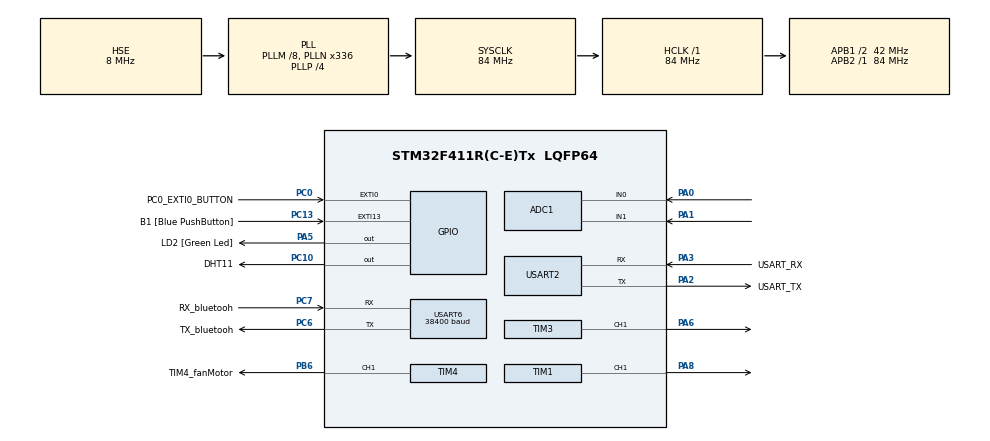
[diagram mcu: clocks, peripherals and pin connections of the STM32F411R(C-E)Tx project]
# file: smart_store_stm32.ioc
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ADC1.Channel-11\#ChannelRegularConversion=ADC_CHANNEL_0
ADC1.Channel-12\#ChannelRegularConversion=ADC_CHANNEL_1
ADC1.DataAlign=ADC_DATAALIGN_RIGHT
ADC1.NbrOfConversion=2
ADC1.NbrOfConversionFlag=1
ADC1.Rank-11\#ChannelRegularConversion=1
ADC1.Rank-12\#ChannelRegularConversion=2
ADC1.SamplingTime-11\#ChannelRegularConversion=ADC_SAMPLETIME_84CYCLES
ADC1.SamplingTime-12\#ChannelRegularConversion=ADC_SAMPLETIME_84CYCLES
ADC1.ScanConvMode=ENABLE
ADC1.master=1
Mcu.Family=STM32F4
Mcu.Name=STM32F411R(C-E)Tx
Mcu.Package=LQFP64
NVIC.ADC_IRQn=true\:0\:0\:false\:false\:true\:true\:true\:true
NVIC.EXTI0_IRQn=true\:0\:0\:false\:false\:true\:true\:true\:true
NVIC.EXTI15_10_IRQn=true\:0\:0\:false\:false\:true\:true\:true\:true
NVIC.PriorityGroup=NVIC_PRIORITYGROUP_0
NVIC.TIM3_IRQn=true\:0\:0\:false\:false\:true\:true\:true\:true
NVIC.TIM4_IRQn=true\:0\:0\:false\:false\:true\:true\:true\:true
NVIC.USART2_IRQn=true\:0\:0\:false\:false\:true\:true\:true\:true
NVIC.USART6_IRQn=true\:0\:0\:false\:false\:true\:true\:true\:true
PA0-WKUP.Signal=ADCx_IN0
PA1.Signal=ADCx_IN1
PA13.GPIO_Label=TMS
PA13.Mode=Serial_Wire
PA13.Signal=SYS_JTMS-SWDIO
PA14.GPIO_Label=TCK
PA14.Mode=Serial_Wire
PA14.Signal=SYS_JTCK-SWCLK
PA2.GPIO_Label=USART_TX
PA2.Mode=Asynchronous
PA2.Signal=USART2_TX
PA3.GPIO_Label=USART_RX
PA3.Mode=Asynchronous
PA3.Signal=USART2_RX
PA5.GPIO_Label=LD2 [Green Led]
PA5.Signal=GPIO_Output
PA6.Signal=S_TIM3_CH1
PA8.Signal=S_TIM1_CH1
PB3.GPIO_Label=SWO
PB3.Signal=SYS_JTDO-SWO
PB6.GPIO_Label=TIM4_fanMotor
PB6.Signal=S_TIM4_CH1
PC0.GPIO_Label=PC0_EXTI0_BUTTON
PC0.Signal=GPXTI0
PC10.GPIO_Label=DHT11
PC10.Signal=GPIO_Output
PC13-ANTI_TAMP.GPIO_Label=B1 [Blue PushButton]
PC13-ANTI_TAMP.GPIO_ModeDefaultEXTI=GPIO_MODE_IT_FALLING
PC13-ANTI_TAMP.Signal=GPXTI13
PC14-OSC32_IN.Mode=LSE-External-Oscillator
PC14-OSC32_IN.Signal=RCC_OSC32_IN
PC15-OSC32_OUT.Mode=LSE-External-Oscillator
PC15-OSC32_OUT.Signal=RCC_OSC32_OUT
PC6.GPIO_Label=TX_bluetooh
PC6.Mode=Asynchronous
PC6.Signal=USART6_TX
PC7.GPIO_Label=RX_bluetooh
PC7.Mode=Asynchronous
PC7.Signal=USART6_RX
PH0\ -\ OSC_IN.Mode=HSE-External-Clock-Source
PH0\ -\ OSC_IN.Signal=RCC_OSC_IN
PH1\ -\ OSC_OUT.Mode=HSE-External-Clock-Source
PH1\ -\ OSC_OUT.Signal=RCC_OSC_OUT
ProjectManager.HeapSize=0x200
ProjectManager.StackSize=0x400
ProjectManager.TargetToolchain=STM32CubeIDE
RCC.48MHZClocksFreq_Value=84000000
RCC.AHBFreq_Value=84000000
RCC.APB1CLKDivider=RCC_HCLK_DIV2
RCC.APB1Freq_Value=42000000
RCC.APB1TimFreq_Value=84000000
RCC.APB2Freq_Value=84000000
RCC.APB2TimFreq_Value=84000000
RCC.CortexFreq_Value=84000000
RCC.FLatency-AdvancedSettings=FLASH_LATENCY_2
RCC.HCLKFreq_Value=84000000
RCC.HSE_VALUE=8000000
RCC.HSI_VALUE=16000000
RCC.PLLM=8
RCC.PLLN=336
RCC.PLLP=RCC_PLLP_DIV4
RCC.PLLSourceVirtual=RCC_PLLSOURCE_HSE
RCC.SYSCLKFreq_VALUE=84000000
RCC.SYSCLKSource=RCC_SYSCLKSOURCE_PLLCLK
RCC.VCOOutputFreq_Value=336000000
SH.ADCx_IN0.0=ADC1_IN0,IN0
SH.ADCx_IN1.0=ADC1_IN1,IN1
SH.S_TIM1_CH1.0=TIM1_CH1,PWM Generation1 CH1
SH.S_TIM3_CH1.0=TIM3_CH1,PWM Generation1 CH1
SH.S_TIM4_CH1.0=TIM4_CH1,PWM Generation1 CH1
TIM1.Channel-PWM\ Generation1\ CH1=TIM_CHANNEL_1
TIM1.Period=999
TIM1.Prescaler=84-1
TIM3.AutoReloadPreload=TIM_AUTORELOAD_PRELOAD_ENABLE
TIM3.Channel-PWM\ Generation1\ CH1=TIM_CHANNEL_1
TIM3.Period=1000-1
TIM3.Prescaler=84-1
TIM4.AutoReloadPreload=TIM_AUTORELOAD_PRELOAD_ENABLE
TIM4.Channel-PWM\ Generation1\ CH1=TIM_CHANNEL_1
TIM4.Period=1000-1
TIM4.Prescaler=84-1
TIM4.Pulse-PWM\ Generation1\ CH1=0
USART2.VirtualMode=VM_ASYNC
USART6.BaudRate=38400
USART6.VirtualMode=VM_ASYNC
VP_TIM1_VS_ClockSourceINT.Mode=Internal
VP_TIM3_VS_ClockSourceINT.Mode=Internal
VP_TIM4_VS_ClockSourceINT.Mode=Internal
board=NUCLEO-F411RE

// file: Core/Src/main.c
/* USER CODE BEGIN Header */
/**
 ******************************************************************************
 * @file           : main.c
 * @brief          : Main program body
 ******************************************************************************
 * @attention
 *
 * Copyright (c) 2024 STMicroelectronics.
 * All rights reserved.
 *
 * This software is licensed under terms that can be found in the LICENSE file
 * in the root directory of this software component.
 * If no LICENSE file comes with this software, it is provided AS-IS.
 *
 ******************************************************************************
 */
/* USER CODE END Header */
#include "main.h"

/* USER CODE BEGIN Includes */
#include "dht.h"  //온습도 센서 헤더
#include "esp.h"  //wifi 모듈 헤더
#include <math.h> //pow() 연산시 필요
#include <stdbool.h>	//bool 타입
#include <stdio.h>	//printf를 위한 디버깅 헤더
#include <stdlib.h>	//메모리 연산
#include <string.h>	//문자열 연산
// #include "clcd.h"
/* USER CODE END Includes */

/* USER CODE BEGIN PD */
#define ARR_CNT 20  // pArray에 사용되는 크기 [@]에 의해 구별되는 명령의 크기
#define CMD_SIZE 50 // 명령의 전체 사이즈

// 디버깅용 printf 사용을 위한 구문
#ifdef __GNUC__
/* With GCC, small printf (option LD Linker->Libraries->Small printf
   set to 'Yes') calls __io_putchar() */
#define PUTCHAR_PROTOTYPE int __io_putchar(int ch)
#else
#define PUTCHAR_PROTOTYPE int fputc(int ch, FILE *f)
#endif /* __GNUC__ */
/* USER CODE END PD */

ADC_HandleTypeDef hadc1;

TIM_HandleTypeDef htim1;
TIM_HandleTypeDef htim3;
TIM_HandleTypeDef htim4;

UART_HandleTypeDef huart2;
UART_HandleTypeDef huart6;

/* USER CODE BEGIN PV */
uint8_t rx2char;
extern cb_data_t cb_data;
extern volatile unsigned char rx2Flag;
extern volatile char rx2Data[50];
volatile int tim3Flag1Sec = 1;
volatile unsigned int tim3Sec;

// 각 장치의 데이터 저장
int humi;              // 습도, 정수로만
char temp[10];         // 온도는, 소수점 앞뒤로 따로 저장되므로 문자열로 한번에 저장
int customerCount = 0; // 현재 매장 내 손님 수 저장(인체감지 센서)
int ledState =20;          // led(조명의 밝기) 저장
int fanSpeed = 0;      // ez모터의 회전수 저장	//0~1000

__IO uint16_t ADC1ConvertValue[2] = {0};
__IO int adcFlag = 0;

typedef struct
{
    float distance;
    uint32_t sensorReadTime;
} Data;

Data outDoorSensor = {0.0, 0};
Data inDoorSensor = {0.0, 0};

int lockFlag = 0;

bool inCustomer = false;
int inCustomerTimer = 0;
/* USER CODE END PV */

void SystemClock_Config(void);
static void MX_GPIO_Init(void);
static void MX_USART2_UART_Init(void);
static void MX_USART6_UART_Init(void);
static void MX_TIM4_Init(void);
static void MX_TIM3_Init(void);
static void MX_TIM1_Init(void);
static void MX_ADC1_Init(void);
/* USER CODE BEGIN PFP */
char strBuff[MAX_ESP_COMMAND_LEN];
void MX_GPIO_LED_ON(int flag);
void MX_GPIO_LED_OFF(int flag);
void esp_event(char *);
long map(long x, long in_min, long in_max, long out_min, long out_max);

void fanControl(int fanSpeed); // fan 회전수를 변경하는 함수
void ledControl(int ledState);

// int infraredSensor();	//적외선 센서 데이터

/* USER CODE END PFP */

int main(void)
{

  /* USER CODE BEGIN 1 */
    int ret = 0;
    DHT11_TypeDef dht11Data;
    //	bool servoFlag = 0;
  /* USER CODE END 1 */

  /* MCU Configuration--------------------------------------------------------*/

  /* Reset of all peripherals, Initializes the Flash interface and the Systick. */
  HAL_Init();

  /* Configure the system clock */
  SystemClock_Config();

  /* Initialize all configured peripherals */
  MX_GPIO_Init();
  MX_USART2_UART_Init();
  MX_USART6_UART_Init();
  MX_TIM4_Init();
  MX_TIM3_Init();
  MX_TIM1_Init();
  MX_ADC1_Init();
  /* USER CODE BEGIN 2 */
    printf("Start main() - wifi\r\n");
    ret |= drv_uart_init();
    ret |= drv_esp_init();
    if (ret != 0)
    {
        printf("Esp response error\r\n");
        Error_Handler();
    }

    AiotClient_Init();

    DHT11_Init();

    if (HAL_TIM_PWM_Start(&htim1, TIM_CHANNEL_1) != HAL_OK)
        Error_Handler();
    if (HAL_TIM_PWM_Start(&htim3, TIM_CHANNEL_1) != HAL_OK)
        Error_Handler();
    if (HAL_TIM_Base_Start_IT(&htim3) != HAL_OK)
        Error_Handler();

    if (HAL_TIM_PWM_Start(&htim4, TIM_CHANNEL_1) != HAL_OK)
        Error_Handler();
  /* USER CODE END 2 */

  /* Infinite loop */
  /* USER CODE BEGIN WHILE */
    while (1)
    {
        if (HAL_ADC_Start_IT(&hadc1) != HAL_OK)
            Error_Handler();
        if (strstr((char *)cb_data.buf, "+IPD") && cb_data.buf[cb_data.length - 1] == '\n')
        {
            //?��?��?���??  \r\n+IPD,15:[KSH_LIN]HELLO\n
            strcpy(strBuff, strchr((char *)cb_data.buf, '['));
            memset(cb_data.buf, 0x0, sizeof(cb_data.buf));
            cb_data.length = 0;
            ledControl(ledState);
            esp_event(strBuff);
        }
        if (rx2Flag)
        {
            printf("recv2 : %s\r\n", rx2Data);
            rx2Flag = 0;
        }
        if (tim3Flag1Sec) // 1초에 한번
        {
            tim3Flag1Sec = 0;
            if (!(tim3Sec % 10)) // 10초에 한번
            {
                if (esp_get_status() != 0)
                {
                    printf("server connecting ...\r\n");
                    esp_client_conn();
                }
            }
            if (!(tim3Sec % 5)) // 5초에 한번
            {
                // dht11에서 값 읽어오기
                dht11Data = DHT11_readData();
                if (dht11Data.rh_byte1 != 255)
                {
                    // 온도 데이터 전역변수 temp에 저장
                    sprintf(temp, "%d.%d", dht11Data.temp_byte1, dht11Data.temp_byte2);
                    // 습도 데이터 전역변수 humi 에 저장
                    humi = dht11Data.rh_byte1;

                    //온도에 따라 팬 속도 조절
                    float fanContorlTemp = atof(temp);
//                    if(fanContorlTemp > 22)
//                    	fanControl(300);
                    if(fanContorlTemp > 23)
                    	fanControl(400);
                    else if(fanContorlTemp > 25)
                    	fanControl(600);
                    else if(fanContorlTemp > 27)
                    	fanControl(800);
                    else if(fanContorlTemp > 30)
                    	fanControl(1000);

                }
                else
                    printf("DHT11 response error\r\n");
            }

			// outdoorsensor 거리 변환
			float voltage = (ADC1ConvertValue[0] / 4095.0f) * 3.3f; // 12-bit ADC의 최대 값은 4095
			if (voltage < 0.1f)
				voltage = 0.1f;
			outDoorSensor.distance = 27.86f / pow(voltage, 1.15f);

			// indoorsensor 거리 변환
			voltage = (ADC1ConvertValue[1] / 4095.0f) * 3.3f; // 12-bit ADC의 최대 값은 4095
			if (voltage < 0.1f)
				voltage = 0.1f;
			inDoorSensor.distance = 27.86f / pow(voltage, 1.15f);

			printf("in distance : %f\r\n", inDoorSensor.distance);
			printf("out distance : %f\r\n", outDoorSensor.distance);

			//led와 자동문, 오늘 손님 수 카운트
			if (outDoorSensor.distance < 17.0 || inDoorSensor.distance < 17.0)
			{
				if(outDoorSensor.distance < 17.0)
					customerCount++;	//오늘 손님 누적

				ledControl(100);
				char sendBuf[MAX_UART_COMMAND_LEN] = {0};

				inCustomer = true;

				sprintf(sendBuf, "[A_DOOR]DOOR@OPEN\n");
				esp_send_data(sendBuf);
			}

			if(inCustomer)
				inCustomerTimer++;
			if(inCustomerTimer > 60)
			{
				inCustomerTimer = 0;
				ledControl(ledState);
			}
		}

    /* USER CODE END WHILE */

    }
}

void SystemClock_Config(void)
{
  RCC_OscInitTypeDef RCC_OscInitStruct = {0};
  RCC_ClkInitTypeDef RCC_ClkInitStruct = {0};

  /** Configure the main internal regulator output voltage
  */
  __HAL_RCC_PWR_CLK_ENABLE();
  __HAL_PWR_VOLTAGESCALING_CONFIG(PWR_REGULATOR_VOLTAGE_SCALE1);

  /** Initializes the RCC Oscillators according to the specified parameters
  * in the RCC_OscInitTypeDef structure.
  */
  RCC_OscInitStruct.OscillatorType = RCC_OSCILLATORTYPE_HSE;
  RCC_OscInitStruct.HSEState = RCC_HSE_BYPASS;
  RCC_OscInitStruct.PLL.PLLState = RCC_PLL_ON;
  RCC_OscInitStruct.PLL.PLLSource = RCC_PLLSOURCE_HSE;
  RCC_OscInitStruct.PLL.PLLM = 8;
  RCC_OscInitStruct.PLL.PLLN = 336;
  RCC_OscInitStruct.PLL.PLLP = RCC_PLLP_DIV4;
  RCC_OscInitStruct.PLL.PLLQ = 4;
  if (HAL_RCC_OscConfig(&RCC_OscInitStruct) != HAL_OK)
  {
    Error_Handler();
  }

  /** Initializes the CPU, AHB and APB buses clocks
  */
  RCC_ClkInitStruct.ClockType = RCC_CLOCKTYPE_HCLK|RCC_CLOCKTYPE_SYSCLK
                              |RCC_CLOCKTYPE_PCLK1|RCC_CLOCKTYPE_PCLK2;
  RCC_ClkInitStruct.SYSCLKSource = RCC_SYSCLKSOURCE_PLLCLK;
  RCC_ClkInitStruct.AHBCLKDivider = RCC_SYSCLK_DIV1;
  RCC_ClkInitStruct.APB1CLKDivider = RCC_HCLK_DIV2;
  RCC_ClkInitStruct.APB2CLKDivider = RCC_HCLK_DIV1;

  if (HAL_RCC_ClockConfig(&RCC_ClkInitStruct, FLASH_LATENCY_2) != HAL_OK)
  {
    Error_Handler();
  }
}

static void MX_ADC1_Init(void)
{

  ADC_ChannelConfTypeDef sConfig = {0};

  /** Configure the global features of the ADC (Clock, Resolution, Data Alignment and number of conversion)
  */
  hadc1.Instance = ADC1;
  hadc1.Init.ClockPrescaler = ADC_CLOCK_SYNC_PCLK_DIV4;
  hadc1.Init.Resolution = ADC_RESOLUTION_12B;
  hadc1.Init.ScanConvMode = ENABLE;
  hadc1.Init.ContinuousConvMode = DISABLE;
  hadc1.Init.DiscontinuousConvMode = DISABLE;
  hadc1.Init.ExternalTrigConvEdge = ADC_EXTERNALTRIGCONVEDGE_NONE;
  hadc1.Init.ExternalTrigConv = ADC_SOFTWARE_START;
  hadc1.Init.DataAlign = ADC_DATAALIGN_RIGHT;
  hadc1.Init.NbrOfConversion = 2;
  hadc1.Init.DMAContinuousRequests = DISABLE;
  hadc1.Init.EOCSelection = ADC_EOC_SINGLE_CONV;
  if (HAL_ADC_Init(&hadc1) != HAL_OK)
  {
    Error_Handler();
  }

  /** Configure for the selected ADC regular channel its corresponding rank in the sequencer and its sample time.
  */
  sConfig.Channel = ADC_CHANNEL_0;
  sConfig.Rank = 1;
  sConfig.SamplingTime = ADC_SAMPLETIME_84CYCLES;
  if (HAL_ADC_ConfigChannel(&hadc1, &sConfig) != HAL_OK)
  {
    Error_Handler();
  }

  /** Configure for the selected ADC regular channel its corresponding rank in the sequencer and its sample time.
  */
  sConfig.Channel = ADC_CHANNEL_1;
  sConfig.Rank = 2;
  if (HAL_ADC_ConfigChannel(&hadc1, &sConfig) != HAL_OK)
  {
    Error_Handler();
  }

}

static void MX_TIM1_Init(void)
{

  TIM_ClockConfigTypeDef sClockSourceConfig = {0};
  TIM_MasterConfigTypeDef sMasterConfig = {0};
  TIM_OC_InitTypeDef sConfigOC = {0};
  TIM_BreakDeadTimeConfigTypeDef sBreakDeadTimeConfig = {0};

  htim1.Instance = TIM1;
  htim1.Init.Prescaler = 84-1;
  htim1.Init.CounterMode = TIM_COUNTERMODE_UP;
  htim1.Init.Period = 999;
  htim1.Init.ClockDivision = TIM_CLOCKDIVISION_DIV1;
  htim1.Init.RepetitionCounter = 0;
  htim1.Init.AutoReloadPreload = TIM_AUTORELOAD_PRELOAD_DISABLE;
  if (HAL_TIM_Base_Init(&htim1) != HAL_OK)
  {
    Error_Handler();
  }
  sClockSourceConfig.ClockSource = TIM_CLOCKSOURCE_INTERNAL;
  if (HAL_TIM_ConfigClockSource(&htim1, &sClockSourceConfig) != HAL_OK)
  {
    Error_Handler();
  }
  if (HAL_TIM_PWM_Init(&htim1) != HAL_OK)
  {
    Error_Handler();
  }
  sMasterConfig.MasterOutputTrigger = TIM_TRGO_RESET;
  sMasterConfig.MasterSlaveMode = TIM_MASTERSLAVEMODE_DISABLE;
  if (HAL_TIMEx_MasterConfigSynchronization(&htim1, &sMasterConfig) != HAL_OK)
  {
    Error_Handler();
  }
  sConfigOC.OCMode = TIM_OCMODE_PWM1;
  sConfigOC.Pulse = 0;
  sConfigOC.OCPolarity = TIM_OCPOLARITY_HIGH;
  sConfigOC.OCNPolarity = TIM_OCNPOLARITY_HIGH;
  sConfigOC.OCFastMode = TIM_OCFAST_DISABLE;
  sConfigOC.OCIdleState = TIM_OCIDLESTATE_RESET;
  sConfigOC.OCNIdleState = TIM_OCNIDLESTATE_RESET;
  if (HAL_TIM_PWM_ConfigChannel(&htim1, &sConfigOC, TIM_CHANNEL_1) != HAL_OK)
  {
    Error_Handler();
  }
  sBreakDeadTimeConfig.OffStateRunMode = TIM_OSSR_DISABLE;
  sBreakDeadTimeConfig.OffStateIDLEMode = TIM_OSSI_DISABLE;
  sBreakDeadTimeConfig.LockLevel = TIM_LOCKLEVEL_OFF;
  sBreakDeadTimeConfig.DeadTime = 0;
  sBreakDeadTimeConfig.BreakState = TIM_BREAK_DISABLE;
  sBreakDeadTimeConfig.BreakPolarity = TIM_BREAKPOLARITY_HIGH;
  sBreakDeadTimeConfig.AutomaticOutput = TIM_AUTOMATICOUTPUT_DISABLE;
  if (HAL_TIMEx_ConfigBreakDeadTime(&htim1, &sBreakDeadTimeConfig) != HAL_OK)
  {
    Error_Handler();
  }
  HAL_TIM_MspPostInit(&htim1);

}

static void MX_TIM3_Init(void)
{

  TIM_ClockConfigTypeDef sClockSourceConfig = {0};
  TIM_MasterConfigTypeDef sMasterConfig = {0};
  TIM_OC_InitTypeDef sConfigOC = {0};

  htim3.Instance = TIM3;
  htim3.Init.Prescaler = 84-1;
  htim3.Init.CounterMode = TIM_COUNTERMODE_UP;
  htim3.Init.Period = 1000-1;
  htim3.Init.ClockDivision = TIM_CLOCKDIVISION_DIV1;
  htim3.Init.AutoReloadPreload = TIM_AUTORELOAD_PRELOAD_ENABLE;
  if (HAL_TIM_Base_Init(&htim3) != HAL_OK)
  {
    Error_Handler();
  }
  sClockSourceConfig.ClockSource = TIM_CLOCKSOURCE_INTERNAL;
  if (HAL_TIM_ConfigClockSource(&htim3, &sClockSourceConfig) != HAL_OK)
  {
    Error_Handler();
  }
  if (HAL_TIM_PWM_Init(&htim3) != HAL_OK)
  {
    Error_Handler();
  }
  sMasterConfig.MasterOutputTrigger = TIM_TRGO_RESET;
  sMasterConfig.MasterSlaveMode = TIM_MASTERSLAVEMODE_DISABLE;
  if (HAL_TIMEx_MasterConfigSynchronization(&htim3, &sMasterConfig) != HAL_OK)
  {
    Error_Handler();
  }
  sConfigOC.OCMode = TIM_OCMODE_PWM1;
  sConfigOC.Pulse = 0;
  sConfigOC.OCPolarity = TIM_OCPOLARITY_HIGH;
  sConfigOC.OCFastMode = TIM_OCFAST_DISABLE;
  if (HAL_TIM_PWM_ConfigChannel(&htim3, &sConfigOC, TIM_CHANNEL_1) != HAL_OK)
  {
    Error_Handler();
  }
  HAL_TIM_MspPostInit(&htim3);

}

static void MX_TIM4_Init(void)
{

  TIM_ClockConfigTypeDef sClockSourceConfig = {0};
  TIM_MasterConfigTypeDef sMasterConfig = {0};
  TIM_OC_InitTypeDef sConfigOC = {0};

  htim4.Instance = TIM4;
  htim4.Init.Prescaler = 84-1;
  htim4.Init.CounterMode = TIM_COUNTERMODE_UP;
  htim4.Init.Period = 1000-1;
  htim4.Init.ClockDivision = TIM_CLOCKDIVISION_DIV1;
  htim4.Init.AutoReloadPreload = TIM_AUTORELOAD_PRELOAD_ENABLE;
  if (HAL_TIM_Base_Init(&htim4) != HAL_OK)
  {
    Error_Handler();
  }
  sClockSourceConfig.ClockSource = TIM_CLOCKSOURCE_INTERNAL;
  if (HAL_TIM_ConfigClockSource(&htim4, &sClockSourceConfig) != HAL_OK)
  {
    Error_Handler();
  }
  if (HAL_TIM_PWM_Init(&htim4) != HAL_OK)
  {
    Error_Handler();
  }
  sMasterConfig.MasterOutputTrigger = TIM_TRGO_RESET;
  sMasterConfig.MasterSlaveMode = TIM_MASTERSLAVEMODE_DISABLE;
  if (HAL_TIMEx_MasterConfigSynchronization(&htim4, &sMasterConfig) != HAL_OK)
  {
    Error_Handler();
  }
  sConfigOC.OCMode = TIM_OCMODE_PWM1;
  sConfigOC.Pulse = 0;
  sConfigOC.OCPolarity = TIM_OCPOLARITY_HIGH;
  sConfigOC.OCFastMode = TIM_OCFAST_DISABLE;
  if (HAL_TIM_PWM_ConfigChannel(&htim4, &sConfigOC, TIM_CHANNEL_1) != HAL_OK)
  {
    Error_Handler();
  }
  HAL_TIM_MspPostInit(&htim4);

}

static void MX_USART2_UART_Init(void)
{

  huart2.Instance = USART2;
  huart2.Init.BaudRate = 115200;
  huart2.Init.WordLength = UART_WORDLENGTH_8B;
  huart2.Init.StopBits = UART_STOPBITS_1;
  huart2.Init.Parity = UART_PARITY_NONE;
  huart2.Init.Mode = UART_MODE_TX_RX;
  huart2.Init.HwFlowCtl = UART_HWCONTROL_NONE;
  huart2.Init.OverSampling = UART_OVERSAMPLING_16;
  if (HAL_UART_Init(&huart2) != HAL_OK)
  {
    Error_Handler();
  }

}

static void MX_USART6_UART_Init(void)
{

  huart6.Instance = USART6;
  huart6.Init.BaudRate = 38400;
  huart6.Init.WordLength = UART_WORDLENGTH_8B;
  huart6.Init.StopBits = UART_STOPBITS_1;
  huart6.Init.Parity = UART_PARITY_NONE;
  huart6.Init.Mode = UART_MODE_TX_RX;
  huart6.Init.HwFlowCtl = UART_HWCONTROL_NONE;
  huart6.Init.OverSampling = UART_OVERSAMPLING_16;
  if (HAL_UART_Init(&huart6) != HAL_OK)
  {
    Error_Handler();
  }

}

static void MX_GPIO_Init(void)
{
  GPIO_InitTypeDef GPIO_InitStruct = {0};

  /* GPIO Ports Clock Enable */
  __HAL_RCC_GPIOC_CLK_ENABLE();
  __HAL_RCC_GPIOH_CLK_ENABLE();
  __HAL_RCC_GPIOA_CLK_ENABLE();
  __HAL_RCC_GPIOB_CLK_ENABLE();

  /*Configure GPIO pin Output Level */
  HAL_GPIO_WritePin(LD2_GPIO_Port, LD2_Pin, GPIO_PIN_RESET);

  /*Configure GPIO pin Output Level */
  HAL_GPIO_WritePin(DHT11_GPIO_Port, DHT11_Pin, GPIO_PIN_RESET);

  /*Configure GPIO pin : B1_Pin */
  GPIO_InitStruct.Pin = B1_Pin;
  GPIO_InitStruct.Mode = GPIO_MODE_IT_FALLING;
  GPIO_InitStruct.Pull = GPIO_NOPULL;
  HAL_GPIO_Init(B1_GPIO_Port, &GPIO_InitStruct);

  /*Configure GPIO pin : PC0_EXTI0_BUTTON_Pin */
  GPIO_InitStruct.Pin = PC0_EXTI0_BUTTON_Pin;
  GPIO_InitStruct.Mode = GPIO_MODE_IT_RISING;
  GPIO_InitStruct.Pull = GPIO_NOPULL;
  HAL_GPIO_Init(PC0_EXTI0_BUTTON_GPIO_Port, &GPIO_InitStruct);

  /*Configure GPIO pin : LD2_Pin */
  GPIO_InitStruct.Pin = LD2_Pin;
  GPIO_InitStruct.Mode = GPIO_MODE_OUTPUT_PP;
  GPIO_InitStruct.Pull = GPIO_NOPULL;
  GPIO_InitStruct.Speed = GPIO_SPEED_FREQ_LOW;
  HAL_GPIO_Init(LD2_GPIO_Port, &GPIO_InitStruct);

  /*Configure GPIO pin : DHT11_Pin */
  GPIO_InitStruct.Pin = DHT11_Pin;
  GPIO_InitStruct.Mode = GPIO_MODE_OUTPUT_PP;
  GPIO_InitStruct.Pull = GPIO_NOPULL;
  GPIO_InitStruct.Speed = GPIO_SPEED_FREQ_LOW;
  HAL_GPIO_Init(DHT11_GPIO_Port, &GPIO_InitStruct);

  /* EXTI interrupt init*/
  HAL_NVIC_SetPriority(EXTI0_IRQn, 0, 0);
  HAL_NVIC_EnableIRQ(EXTI0_IRQn);

  HAL_NVIC_SetPriority(EXTI15_10_IRQn, 0, 0);
  HAL_NVIC_EnableIRQ(EXTI15_10_IRQn);

}

/* USER CODE BEGIN 4 */
// PUTCHAR_PROTOTYPE
//{
//   /* Place your implementation of fputc here */
//   /* e.g. write a character to the USART6 and Loop until the end of transmission */
//   HAL_UART_Transmit(&huart2, (uint8_t *)&ch, 1, 0xFFFF);
//
//   return ch;
// }

void MX_GPIO_LED_ON(int pin)
{
    HAL_GPIO_WritePin(LD2_GPIO_Port, pin, GPIO_PIN_SET);
}
void MX_GPIO_LED_OFF(int pin)
{
    HAL_GPIO_WritePin(LD2_GPIO_Port, pin, GPIO_PIN_RESET);
}
void esp_event(char *recvBuf)
{
    int i = 0;
    char *pToken;
    char *pArray[ARR_CNT] = {0};
    char sendBuf[200] = {0};

    strBuff[strlen(recvBuf) - 1] = '\0'; //'\n' cut
    printf("\r\nDebug recv : %s\r\n", recvBuf);

    pToken = strtok(recvBuf, "[@]");
    while (pToken != NULL)
    {
        pArray[i] = pToken;
        if (++i >= ARR_CNT)
            break;
        pToken = strtok(NULL, "[@]");
    }

    if (!strcmp(pArray[1], "ALLSTOP"))
    {
        if (!strcmp(pArray[2], "ON"))
        {
            // 모든 장치 정지 명령 내리기(모든 플래그 True로)
        	fanControl(0);
        	ledControl(0);
        	lockFlag = 1;
        	sprintf(sendBuf, "[%s]%s@%s\n", pArray[0], pArray[1], pArray[2]);
        }
        else if (!strcmp(pArray[2], "OFF"))
        {
            // 모든 장치 정지 명령 취소(모든 플래그 false로)
        	fanControl(500);
        	ledControl(50);
        	lockFlag = 0;
        	sprintf(sendBuf, "[%s]%s@%s\n", pArray[0], pArray[1], pArray[2]);
        }
    }
    else if (!strcmp(pArray[1], "STATE"))
    {
        // 현재 매장의 상태 전송하기
        sprintf(sendBuf, "[%s]%s@%s@%d@%d@%d@%d@%d\n", pArray[0], pArray[1], temp, humi, ledState, lockFlag, customerCount, fanSpeed);
    }
    else if (!strcmp(pArray[1], "FAN")) // 팬 회전수 0~1000
    {
        fanSpeed = atoi(pArray[2]);
        fanControl(fanSpeed);
        sprintf(sendBuf, "[%s]%s@%d\n", pArray[0], pArray[1], fanSpeed);
    }
    else if (!strcmp(pArray[1], "DHTSTATE")) // 온습도 보내기
    {
        sprintf(sendBuf, "[%s]%s@%s@%d\n", pArray[0], pArray[1], temp, humi);
    }
    else if (!strcmp(pArray[1], "LED")) //[매장명]LED@pArray[2]or[State]@
    {
        if (!strcmp(pArray[2], "STATE"))
        {
            sprintf(sendBuf, "[%s]%s@%s@%d\n", pArray[0], pArray[1], pArray[2], ledState);
        }
        else
        {
        	ledState = atoi(pArray[2]);
            ledControl(ledState);
            sprintf(sendBuf, "[%s]%s@%d\n", pArray[0], pArray[1], ledState);
        }
    }
    else if (!strncmp(pArray[1], " New conn", 8))
    {
        printf("Debug : %s, %s\r\n",pArray[0],pArray[1]);
    }
    else if (!strncmp(pArray[1], " Already log", 8))
    {
        esp_client_conn();
        return;
    }
    else
        return;

    esp_send_data(sendBuf);
    printf("Debug send : %s\r\n",sendBuf);

}
void HAL_TIM_PeriodElapsedCallback(TIM_HandleTypeDef *htim) // 1ms 마다 호출
{
    static int tim3Cnt = 0;
    tim3Cnt++;
    if (tim3Cnt >= 1000) // 1ms * 1000 = 1Sec
    {
        tim3Flag1Sec = 1;
        tim3Sec++;
        tim3Cnt = 0;
    }
}

long map(long x, long in_min, long in_max, long out_min, long out_max)
{
    return (x - in_min) * (out_max - out_min) / (in_max - in_min) + out_min;
}

void fanControl(int fanSpeed)
{
	__HAL_TIM_SetCompare(&htim4, TIM_CHANNEL_1, fanSpeed);
}

void ledControl(int bright)
{
//	ledState = bright;
	if (bright > 100)
		bright = 100;
	int realLedState = map(bright, 0, 100, 0, 1000); // 써지는 실제값
	__HAL_TIM_SetCompare(&htim1, TIM_CHANNEL_1, realLedState);
}

void HAL_ADC_ConvCpltCallback(ADC_HandleTypeDef *hadc)
{
    static int channel = 0;
    if (channel == 0)
    {
        ADC1ConvertValue[channel] = HAL_ADC_GetValue(hadc);
        outDoorSensor.sensorReadTime = HAL_GetTick();	//들어오고 나가는 사라 카운트를 하기 위함
        channel = 1;
    }
    else if (channel == 1)
    {
        ADC1ConvertValue[channel] = HAL_ADC_GetValue(hadc);
        inDoorSensor.sensorReadTime = HAL_GetTick(); //들어오고 나가는 사라 카운트하기 위함.
        channel = 0;
        adcFlag = 1;
    }
}

/* USER CODE END 4 */

void Error_Handler(void)
{
    __disable_irq();
    while (1)
    {
    }
}
